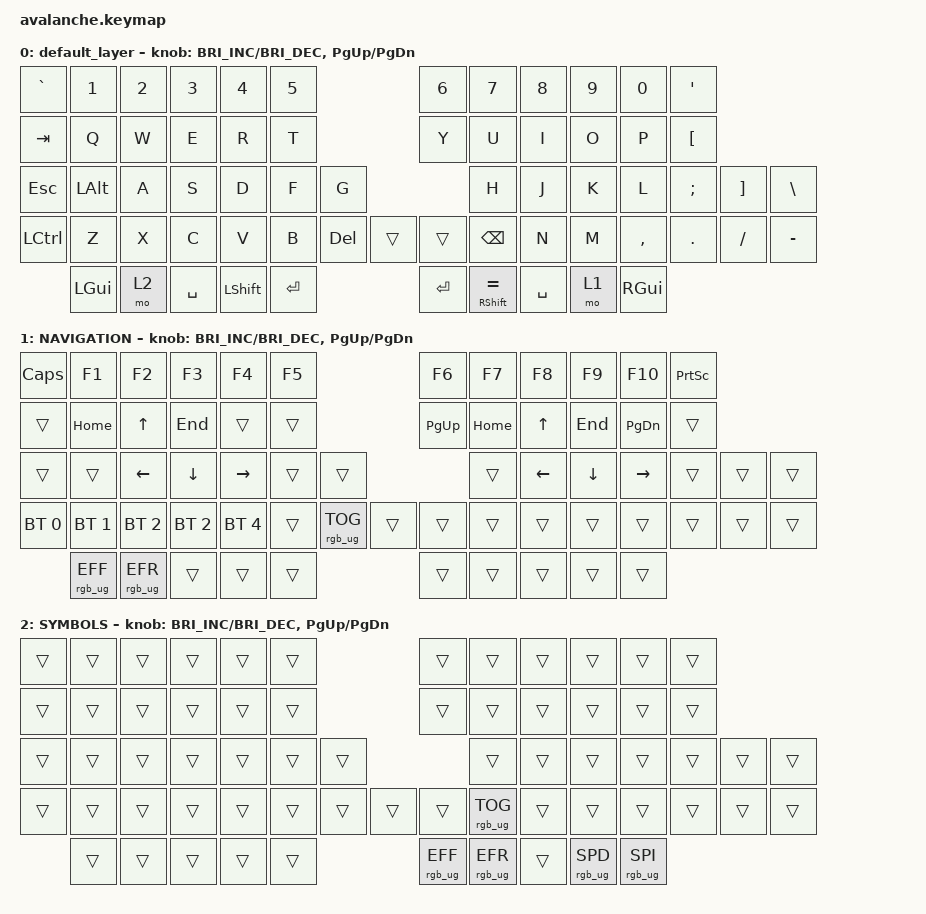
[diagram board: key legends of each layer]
#include <behaviors.dtsi>
#include <dt-bindings/zmk/bt.h>
#include <dt-bindings/zmk/keys.h>
#include <dt-bindings/zmk/rgb.h>

/ {
    behaviors {
        bhm: balanced_homerow_mods {
            compatible = "zmk,behavior-hold-tap";
            #binding-cells = <2>;
            tapping-term-ms = <200>;

            // <---[[moderate duration]]

            quick-tap-ms = <0>;
            flavor = "balanced";
            bindings = <&kp>, <&kp>;
        };

        hm: homerow_mods {
            compatible = "zmk,behavior-hold-tap";
            #binding-cells = <2>;
            tapping-term-ms = <250>;
            flavor = "tap-preferred";
            bindings = <&kp>, <&kp>;
        };
    };

    keymap {
        compatible = "zmk,keymap";

        default_layer {
            // ---------------------------------------------------------------------------------------------------------------------------------------------
            //            |  `  |  1  |  2  |  3  |  4  |  5  |                                             |  6  |  7  |  8  |  9  |  0  |  '  |
            //            | TAB |  Q  |  W  |  E  |  R  |  T  |                                             |  Y  |  U  |  I  |  O  |  P  |  [  | 
            //    |  ESC  |CTRL |  A  |  S  |  D  |  F  |  G  |                                             |  H  |  J  |  K  |  L  |  ;  |  '  |  \   |
            //            |SHIFT|  Z  |  X  |  C  |  V  |  B  |  DEL  |                              | BSPC |  N  |  M  |  ,  |  .  |  /  |  -  |
            //                        | GUI | ALT |SPACE|RAISE| ENTER |                              | ENTER|  =  |SPACE|MO(1)|MO(2)|
            // ---------------------------------------------------------------------------------------------------------------------------------------------

            bindings = <
&kp GRAVE         &kp N1        &kp N2  &kp N3     &kp N4          &kp N5                         &kp N6     &kp N7                 &kp N8     &kp N9  &kp N0         &kp SQT
&kp TAB           &kp Q         &kp W   &kp E      &kp R           &kp T                          &kp Y      &kp U                  &kp I      &kp O   &kp P          &kp LEFT_BRACKET
&kp ESC           &kp LEFT_ALT  &kp A   &kp S      &kp D           &kp F      &kp G                          &kp H                  &kp J      &kp K   &kp L          &kp SEMICOLON     &kp RIGHT_BRACKET  &kp BACKSLASH
&kp LEFT_CONTROL  &kp Z         &kp X   &kp C      &kp V           &kp B      &kp DELETE  &trans  &trans     &kp BACKSPACE          &kp N      &kp M   &kp COMMA      &kp PERIOD        &kp FSLH           &kp MINUS
                  &kp LGUI      &mo 2   &kp SPACE  &kp LEFT_SHIFT  &kp ENTER                      &kp ENTER  &hm RIGHT_SHIFT EQUAL  &kp SPACE  &mo 1   &kp RIGHT_GUI
            >;

            sensor-bindings =
                <&inc_dec_kp C_BRIGHTNESS_INC C_BRIGHTNESS_DEC>,
                <&inc_dec_kp PG_UP PG_DN>;
        };

        NAVIGATION {
            // ---------------------------------------------------------------------------------------------------------------------------------------------
            //            |     |     |     |     |     |     |                                          |     |     |     |     |     |     |
            //            |     | HOME|  UP | END |     |     |                                          |     |HOME |     |END  |     |     |
            //       |    |     | LEFT| DOWN|RIGHT|     |     |                                          |SCLUP|LEFT |  UP |  A  |PG_UP|     |    |
            //            |     |     |     |     |     |     |     |                              |     |SCLDN|LEFT | DOWN|RIGHT|PG_DN|     |
            //                        |     |     |     |     |     |                              |     |     |     |     |     |
            // ---------------------------------------------------------------------------------------------------------------------------------------------

            bindings = <
&kp CAPS      &kp F1           &kp F2           &kp F3        &kp F4        &kp F5                           &kp F6       &kp F7    &kp F8    &kp F9    &kp F10        &kp PRINTSCREEN
&trans        &kp HOME         &kp UP           &kp END       &trans        &trans                           &kp PAGE_UP  &kp HOME  &kp UP    &kp END   &kp PAGE_DOWN  &trans
&trans        &trans           &kp LEFT         &kp DOWN      &kp RIGHT     &trans  &trans                                &trans    &kp LEFT  &kp DOWN  &kp RIGHT      &trans           &trans  &trans
&bt BT_SEL 0  &bt BT_SEL 1     &bt BT_SEL 2     &bt BT_SEL 2  &bt BT_SEL 4  &trans  &rgb_ug RGB_TOG  &trans  &trans       &trans    &trans    &trans    &trans         &trans           &trans  &trans
              &rgb_ug RGB_EFF  &rgb_ug RGB_EFR  &trans        &trans        &trans                           &trans       &trans    &trans    &trans    &trans
            >;

            sensor-bindings =
                <&inc_dec_kp C_BRIGHTNESS_INC C_BRIGHTNESS_DEC>,
                <&inc_dec_kp PG_UP PG_DN>;
        };

        SYMBOLS {
            bindings = <
&trans  &trans  &trans  &trans  &trans  &trans                  &trans           &trans           &trans  &trans           &trans           &trans
&trans  &trans  &trans  &trans  &trans  &trans                  &trans           &trans           &trans  &trans           &trans           &trans
&trans  &trans  &trans  &trans  &trans  &trans  &trans                           &trans           &trans  &trans           &trans           &trans  &trans  &trans
&trans  &trans  &trans  &trans  &trans  &trans  &trans  &trans  &trans           &rgb_ug RGB_TOG  &trans  &trans           &trans           &trans  &trans  &trans
        &trans  &trans  &trans  &trans  &trans                  &rgb_ug RGB_EFF  &rgb_ug RGB_EFR  &trans  &rgb_ug RGB_SPD  &rgb_ug RGB_SPI
            >;

            sensor-bindings =
                <&inc_dec_kp C_BRIGHTNESS_INC C_BRIGHTNESS_DEC>,
                <&inc_dec_kp PG_UP PG_DN>;
        };
    };
};

